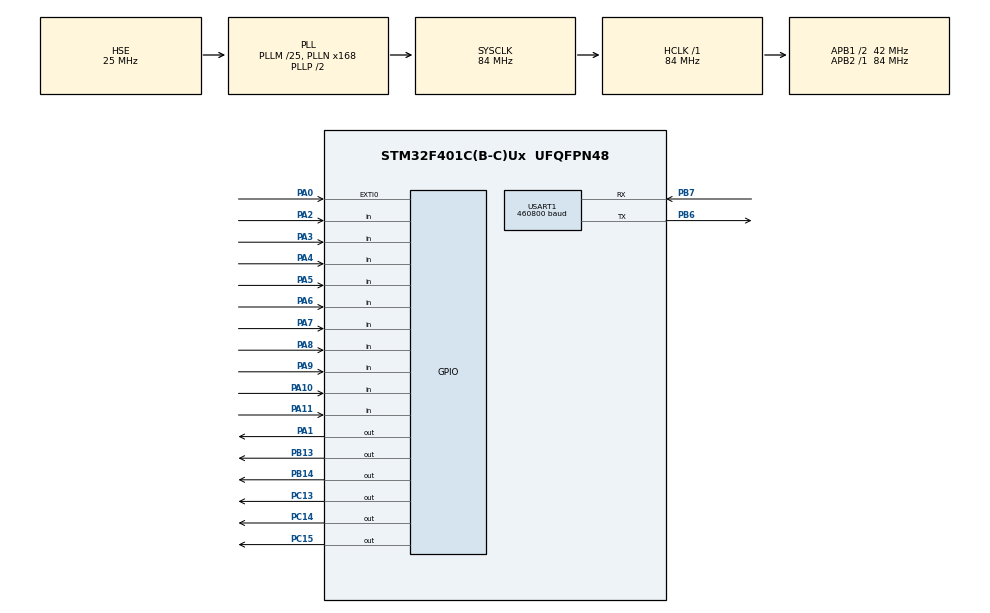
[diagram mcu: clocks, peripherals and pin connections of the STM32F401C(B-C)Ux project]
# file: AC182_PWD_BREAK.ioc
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Mcu.Family=STM32F4
Mcu.Name=STM32F401C(B-C)Ux
Mcu.Package=UFQFPN48
NVIC.EXTI0_IRQn=true\:0\:0\:false\:false\:true\:true\:true\:true
NVIC.PriorityGroup=NVIC_PRIORITYGROUP_4
NVIC.TIM1_UP_TIM10_IRQn=true\:0\:0\:false\:false\:true\:true\:true\:true
NVIC.USART1_IRQn=true\:0\:0\:false\:false\:true\:true\:true\:true
PA0-WKUP.GPIO_ModeDefaultEXTI=GPIO_MODE_IT_RISING
PA0-WKUP.GPIO_PuPd=GPIO_PULLUP
PA0-WKUP.Signal=GPXTI0
PA1.GPIO_Speed=GPIO_SPEED_FREQ_VERY_HIGH
PA1.Signal=GPIO_Output
PA10.Signal=GPIO_Input
PA11.Signal=GPIO_Input
PA13.Signal=SYS_JTMS-SWDIO
PA14.Signal=SYS_JTCK-SWCLK
PA2.Signal=GPIO_Input
PA3.Signal=GPIO_Input
PA4.Signal=GPIO_Input
PA5.Signal=GPIO_Input
PA6.Signal=GPIO_Input
PA7.Signal=GPIO_Input
PA8.Signal=GPIO_Input
PA9.Signal=GPIO_Input
PB13.Signal=GPIO_Output
PB14.Signal=GPIO_Output
PB6.Mode=Asynchronous
PB6.Signal=USART1_TX
PB7.Mode=Asynchronous
PB7.Signal=USART1_RX
PC13-ANTI_TAMP.Signal=GPIO_Output
PC14-OSC32_IN.Signal=GPIO_Output
PC15-OSC32_OUT.PinState=GPIO_PIN_SET
PC15-OSC32_OUT.Signal=GPIO_Output
PH0\ -\ OSC_IN.Mode=HSE-External-Oscillator
PH0\ -\ OSC_IN.Signal=RCC_OSC_IN
PH1\ -\ OSC_OUT.Mode=HSE-External-Oscillator
PH1\ -\ OSC_OUT.Signal=RCC_OSC_OUT
ProjectManager.HeapSize=0x200
ProjectManager.StackSize=0x400
ProjectManager.TargetToolchain=STM32CubeIDE
RCC.48MHZClocksFreq_Value=42000000
RCC.AHBFreq_Value=84000000
RCC.APB1CLKDivider=RCC_HCLK_DIV2
RCC.APB1Freq_Value=42000000
RCC.APB1TimFreq_Value=84000000
RCC.APB2Freq_Value=84000000
RCC.APB2TimFreq_Value=84000000
RCC.CortexFreq_Value=84000000
RCC.HCLKFreq_Value=84000000
RCC.HSE_VALUE=25000000
RCC.HSI_VALUE=16000000
RCC.LSE_VALUE=32768
RCC.PLLM=25
RCC.PLLN=168
RCC.PLLSourceVirtual=RCC_PLLSOURCE_HSE
RCC.SYSCLKFreq_VALUE=84000000
RCC.SYSCLKSource=RCC_SYSCLKSOURCE_PLLCLK
RCC.VCOOutputFreq_Value=168000000
TIM1.Period=100
USART1.BaudRate=460800
USART1.VirtualMode=VM_ASYNC
VP_TIM1_VS_ClockSourceINT.Mode=Internal
board=custom

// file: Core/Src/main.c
/* USER CODE BEGIN Header */
/**
  ******************************************************************************
  * @file           : main.c
  * @brief          : Main program body
  ******************************************************************************
  * @attention
  *
  * Copyright (c) 2023 STMicroelectronics.
  * All rights reserved.
  *
  * This software is licensed under terms that can be found in the LICENSE file
  * in the root directory of this software component.
  * If no LICENSE file comes with this software, it is provided AS-IS.
  *
  ******************************************************************************
  */

/*
 *
 * IN1 OUT1 : RESET
 * IN1 OUT2 : 2
 * IN1 OUT3 : 6
 * IN1 OUT4 : 0
 * IN2 OUT1 : ENTER
 * IN2 OUT2 : 1
 * IN2 OUT3 : 5
 * IN2 OUT4 : 9
 * IN3 OUT1 : START
 * IN3 OUT2 : STOP
 * IN3 OUT3 : 4
 * IN3 OUT4 : 8
 * IN4 OUT1 : HAUT
 * IN4 OUT2 : BAS
 * IN4 OUT3 : 3
 * IN4 OUT4 : 7
 *
 */
/* USER CODE END Header */
#include "main.h"
#include "tim.h"
#include "usart.h"
#include "gpio.h"

/* USER CODE BEGIN Includes */
#include "string.h"
/* USER CODE END Includes */

/* USER CODE BEGIN PD */
#define		HOLD_DELAY 		50
/* USER CODE END PD */

/* USER CODE BEGIN PV */
extern volatile unsigned char lcd_data_full;
extern char data_ascii[1024];
char data_to_print[1024], *pdata_to_print, *pdata_ascii_read, linefeed = 0, rxBuffer[10], code_string[4];
int uart_count = 0, line_count = 0, code = 9999, lcd_count = 0;
/* USER CODE END PV */

void SystemClock_Config(void);
/* USER CODE BEGIN PFP */
void Push_RESET(void);
void Push_ENTER(void);
void Push_START(void);
void Push_STOP(void);
void Push_HAUT(void);
void Push_BAS(void);
void Push_0(void);
void Push_1(void);
void Push_2(void);
void Push_3(void);
void Push_4(void);
void Push_5(void);
void Push_6(void);
void Push_7(void);
void Push_8(void);
void Push_9(void);
void Push_Button(char);

void Push_RESET(void)
{
	//* IN1 OUT1 : RESET
	SET_MUX_Y2();
	SET_DEMUX_Y2();
	RESET_GPIO_EN();
	HAL_Delay(HOLD_DELAY);
	SET_GPIO_EN();
}
void Push_ENTER(void)
{
	//* IN2 OUT1 : ENTER
	SET_MUX_Y1();
	SET_DEMUX_Y2();
	RESET_GPIO_EN();
	HAL_Delay(HOLD_DELAY);
	SET_GPIO_EN();

}
void Push_START(void)
{
	//* IN3 OUT1 : START
	SET_MUX_Y0();
	SET_DEMUX_Y2();
	RESET_GPIO_EN();
	HAL_Delay(HOLD_DELAY);
	SET_GPIO_EN();

}
void Push_STOP(void)
{
	//* IN3 OUT2 : STOP
	SET_MUX_Y0();
	SET_DEMUX_Y1();
	RESET_GPIO_EN();
	HAL_Delay(HOLD_DELAY);
	SET_GPIO_EN();
}
void Push_HAUT(void)
{
	//* IN4 OUT1 : HAUT
	SET_MUX_Y3();
	SET_DEMUX_Y2();
	RESET_GPIO_EN();
	HAL_Delay(HOLD_DELAY);
	SET_GPIO_EN();
}
void Push_BAS(void)
{
	//* IN4 OUT2 : BAS
	SET_MUX_Y3();
	SET_DEMUX_Y1();
	RESET_GPIO_EN();
	HAL_Delay(HOLD_DELAY);
	SET_GPIO_EN();
}
void Push_0(void)
{
	//* IN1 OUT4 : 0
	SET_MUX_Y2();
	SET_DEMUX_Y3();
	RESET_GPIO_EN();
	HAL_Delay(HOLD_DELAY);
	SET_GPIO_EN();

}
void Push_1(void)
{
	//* IN2 OUT2 : 1
	SET_MUX_Y1();
	SET_DEMUX_Y1();
	RESET_GPIO_EN();
	HAL_Delay(HOLD_DELAY);
	SET_GPIO_EN();

}
void Push_2(void)
{
	//* IN1 OUT2 : 2
	SET_MUX_Y2();
	SET_DEMUX_Y1();
	RESET_GPIO_EN();
	HAL_Delay(HOLD_DELAY);
	SET_GPIO_EN();

}
void Push_3(void)
{
	//* IN4 OUT3 : 3
	SET_MUX_Y3();
	SET_DEMUX_Y0();
	RESET_GPIO_EN();
	HAL_Delay(HOLD_DELAY);
	SET_GPIO_EN();

}
void Push_4(void)
{
	//* IN3 OUT3 : 4
	SET_MUX_Y0();
	SET_DEMUX_Y0();
	RESET_GPIO_EN();
	HAL_Delay(HOLD_DELAY);
	SET_GPIO_EN();

}
void Push_5(void)
{
	//* IN2 OUT3 : 5
	SET_MUX_Y1();
	SET_DEMUX_Y0();
	RESET_GPIO_EN();
	HAL_Delay(HOLD_DELAY);
	SET_GPIO_EN();

}
void Push_6(void)
{
	//* IN1 OUT3 : 6
	SET_MUX_Y2();
	SET_DEMUX_Y0();
	RESET_GPIO_EN();
	HAL_Delay(HOLD_DELAY);
	SET_GPIO_EN();

}
void Push_7(void)
{
	//* IN4 OUT4 : 7
	SET_MUX_Y3();
	SET_DEMUX_Y3();
	RESET_GPIO_EN();
	HAL_Delay(HOLD_DELAY);
	SET_GPIO_EN();
}
void Push_8(void)
{
	//* IN3 OUT4 : 8
	SET_MUX_Y0();
	SET_DEMUX_Y3();
	RESET_GPIO_EN();
	HAL_Delay(HOLD_DELAY);
	SET_GPIO_EN();
}
void Push_9(void)
{
	//* IN2 OUT4 : 9
	SET_MUX_Y1();
	SET_DEMUX_Y3();
	RESET_GPIO_EN();
	HAL_Delay(HOLD_DELAY);
	SET_GPIO_EN();
}

void Push_Button(char button)
{
	switch(button)
			{

				case '1':
					Push_1();
					break;

				case '2':
					Push_2();
					break;

				case '3':
					Push_3();
					break;

				case '4':
					Push_4();
					break;

				case '5':
					Push_5();
					break;

				case '6':
					Push_6();
					break;

				case '7':
					Push_7();
					break;

				case '8':
					Push_8();
					break;

				case '9':
					Push_9();
					break;

				case '0':
					Push_0();
					break;

				case 'z':
					Push_HAUT();
					break;

				case 's':
					Push_BAS();
					break;

				case 'e':
					Push_ENTER();
					break;

				case 'r':
					Push_RESET();
					break;

				case 'a':
					Push_START();
					break;

				case 't':
					Push_STOP();
					break;

				// operator doesn't match any case constant +, -, *, /
				default:
					HAL_Delay(10);
			}
}
/* USER CODE END PFP */

int main(void)
{

  /* MCU Configuration--------------------------------------------------------*/

  /* Reset of all peripherals, Initializes the Flash interface and the Systick. */
  HAL_Init();

  /* Configure the system clock */
  SystemClock_Config();

  /* Initialize all configured peripherals */
  MX_GPIO_Init();
  MX_TIM1_Init();
  MX_USART1_UART_Init();

  /* Infinite loop */
  /* USER CODE BEGIN WHILE */

	  sprintf(code_string, "%04d", code);
	  Push_RESET();
	  HAL_Delay(HOLD_DELAY);
	  Push_BAS();
	  HAL_Delay(HOLD_DELAY);
	  Push_BAS();
	  HAL_Delay(HOLD_DELAY);
	  Push_ENTER();

	  HAL_Delay(HOLD_DELAY);
	  Push_BAS();
	  HAL_Delay(HOLD_DELAY);
	  Push_BAS();
	  HAL_Delay(HOLD_DELAY);
	  Push_ENTER();
	  HAL_Delay(HOLD_DELAY);

	  while (1)
	  {

	if (lcd_count > 10)
	{
		sprintf(code_string, "%04d", code);
		HAL_UART_Transmit(&huart1, code_string, 4,10000);
		HAL_UART_Transmit(&huart1, '\n\r', 1,10000);

		Push_Button(code_string[0]);
		HAL_Delay(HOLD_DELAY);
		Push_Button(code_string[1]);
		HAL_Delay(HOLD_DELAY);
		Push_Button(code_string[2]);
		HAL_Delay(HOLD_DELAY);
		Push_Button(code_string[3]);
		HAL_Delay(HOLD_DELAY);
		Push_ENTER();

		code--;
	}

	  if (lcd_data_full == 1)
	  {
		  lcd_count++;
		  if (strstr( data_ascii, "bouteille" ) == NULL)
		  {

			  RESET_GPIO_TEST_PIN();

		  }
		  else
		  {
			  //Push_RESET();
			  SET_GPIO_TEST_PIN();

		  }

			  LL_EXTI_EnableIT_0_31(LL_EXTI_LINE_0);
			  lcd_data_full = 0;
			  pdata_to_print = &data_to_print[0];
			  pdata_ascii_read = &data_ascii[0];
			  uart_count = 0;
			  line_count = 0;
			  while(pdata_ascii_read < &data_ascii[1023] && line_count < 12)
			  {
				  if(*pdata_ascii_read != ' ')
				  {
					  *pdata_to_print = *pdata_ascii_read;
					  pdata_to_print++;
					  uart_count++;
					  linefeed = 0;
				  }

				  if(*pdata_ascii_read == ' ' && *(pdata_ascii_read - 1) != ' ')
				  {
					  *pdata_to_print = *pdata_ascii_read;
					  pdata_to_print++;
					  uart_count++;
					  linefeed = 0;
				  }

				  if(*pdata_ascii_read == ' ' && *(pdata_ascii_read - 1) == ' ' && linefeed == 0)
				  {
					  linefeed = 0x0A;
					  line_count++;
					  *pdata_to_print = linefeed;
					  uart_count++;
					  pdata_to_print++;

				  }

				  pdata_ascii_read++;
			  }
			  linefeed = 0x0;
			  pdata_to_print = &data_to_print[0];
			  HAL_UART_Transmit(&huart1, pdata_to_print, uart_count,10000);
			  pdata_to_print = &data_to_print[0];

	  }
    /* USER CODE END WHILE */

  }
}

void SystemClock_Config(void)
{
  RCC_OscInitTypeDef RCC_OscInitStruct = {0};
  RCC_ClkInitTypeDef RCC_ClkInitStruct = {0};

  /** Configure the main internal regulator output voltage
  */
  __HAL_RCC_PWR_CLK_ENABLE();
  __HAL_PWR_VOLTAGESCALING_CONFIG(PWR_REGULATOR_VOLTAGE_SCALE2);

  /** Initializes the RCC Oscillators according to the specified parameters
  * in the RCC_OscInitTypeDef structure.
  */
  RCC_OscInitStruct.OscillatorType = RCC_OSCILLATORTYPE_HSE;
  RCC_OscInitStruct.HSEState = RCC_HSE_ON;
  RCC_OscInitStruct.PLL.PLLState = RCC_PLL_ON;
  RCC_OscInitStruct.PLL.PLLSource = RCC_PLLSOURCE_HSE;
  RCC_OscInitStruct.PLL.PLLM = 25;
  RCC_OscInitStruct.PLL.PLLN = 168;
  RCC_OscInitStruct.PLL.PLLP = RCC_PLLP_DIV2;
  RCC_OscInitStruct.PLL.PLLQ = 4;
  if (HAL_RCC_OscConfig(&RCC_OscInitStruct) != HAL_OK)
  {
    Error_Handler();
  }

  /** Initializes the CPU, AHB and APB buses clocks
  */
  RCC_ClkInitStruct.ClockType = RCC_CLOCKTYPE_HCLK|RCC_CLOCKTYPE_SYSCLK
                              |RCC_CLOCKTYPE_PCLK1|RCC_CLOCKTYPE_PCLK2;
  RCC_ClkInitStruct.SYSCLKSource = RCC_SYSCLKSOURCE_PLLCLK;
  RCC_ClkInitStruct.AHBCLKDivider = RCC_SYSCLK_DIV1;
  RCC_ClkInitStruct.APB1CLKDivider = RCC_HCLK_DIV2;
  RCC_ClkInitStruct.APB2CLKDivider = RCC_HCLK_DIV1;

  if (HAL_RCC_ClockConfig(&RCC_ClkInitStruct, FLASH_LATENCY_2) != HAL_OK)
  {
    Error_Handler();
  }
}

void Error_Handler(void)
{
  __disable_irq();
  while (1)
  {
  }
}
